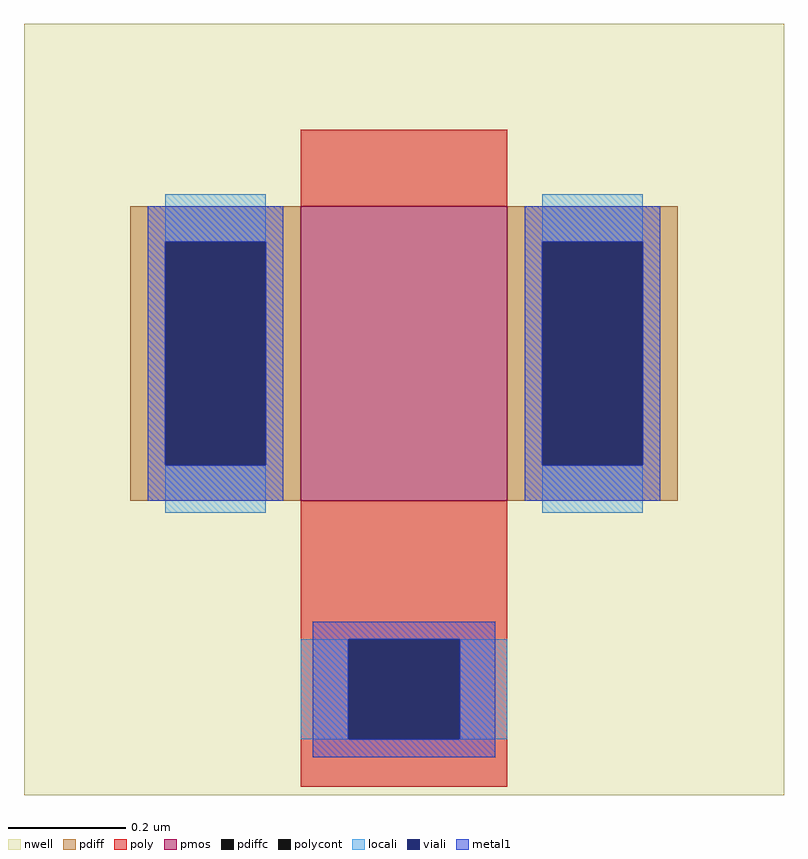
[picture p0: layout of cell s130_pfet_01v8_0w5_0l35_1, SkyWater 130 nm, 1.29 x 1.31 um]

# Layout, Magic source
magic
tech sky130A
magscale 1 2
<< nwell >>
rect -129 -114 129 148
<< pmos >>
rect -35 -14 35 86
<< pdiff >>
rect -93 74 -35 86
rect -93 -2 -81 74
rect -47 -2 -35 74
rect -93 -14 -35 -2
rect 35 74 93 86
rect 35 -2 47 74
rect 81 -2 93 74
rect 35 -14 93 -2
<< pdiffc >>
rect -81 -2 -47 74
rect 47 -2 81 74
<< poly >>
rect -35 86 35 112
rect -35 -61 35 -14
rect -35 -95 -19 -61
rect 19 -95 35 -61
rect -35 -111 35 -95
<< polycont >>
rect -19 -95 19 -61
<< locali >>
rect -81 74 -47 90
rect -81 -18 -47 -2
rect 47 74 81 90
rect 47 -18 81 -2
rect -35 -95 -19 -61
rect 19 -95 35 -61
<< viali >>
rect -81 -2 -47 74
rect 47 -2 81 74
rect -19 -95 19 -61
<< metal1 >>
rect -87 74 -41 86
rect -87 -2 -81 74
rect -47 -2 -41 74
rect -87 -14 -41 -2
rect 41 74 87 86
rect 41 -2 47 74
rect 81 -2 87 74
rect 41 -14 87 -2
rect -31 -61 31 -55
rect -31 -95 -19 -61
rect 19 -95 31 -61
rect -31 -101 31 -95
<< properties >>
string gencell sky130_fd_pr__pfet_01v8
string library sky130
string parameters w 0.5 l 0.35 m 1 nf 1 diffcov 100 polycov 100 guard 0 glc 1 grc 1 gtc 1 gbc 1 tbcov 100 rlcov 100 topc 0 botc 1 poverlap 0 doverlap 0 lmin 0.15 wmin 0.42 class mosfet compatible {sky130_fd_pr__pfet_01v8  sky130_fd_pr__pfet_01v8_lvt sky130_fd_pr__pfet_01v8_hvt  sky130_fd_pr__pfet_g5v0d10v5} full_metal 1 viasrc 100 viadrn 100 viagate 100 viagb 0 viagr 0 viagl 0 viagt 0
<< end >>
